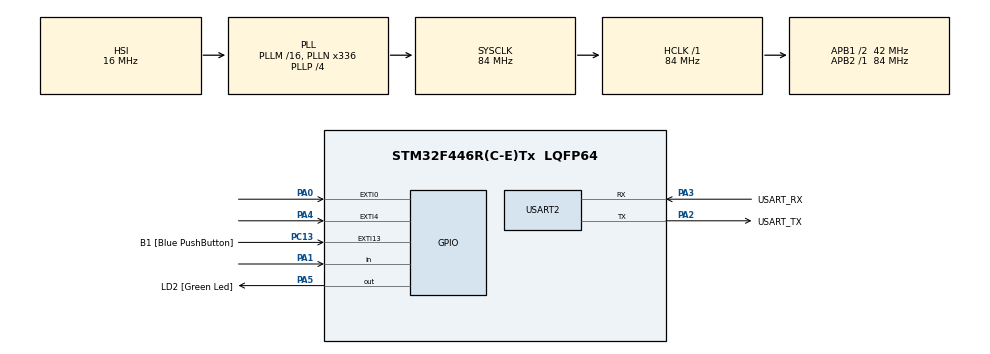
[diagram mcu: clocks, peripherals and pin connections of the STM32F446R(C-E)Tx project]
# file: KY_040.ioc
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Mcu.Family=STM32F4
Mcu.Name=STM32F446R(C-E)Tx
Mcu.Package=LQFP64
NVIC.EXTI0_IRQn=true\:0\:0\:false\:false\:true\:true\:true\:true
NVIC.EXTI4_IRQn=true\:0\:0\:false\:false\:true\:true\:true\:true
NVIC.PriorityGroup=NVIC_PRIORITYGROUP_0
PA0-WKUP.GPIO_ModeDefaultEXTI=GPIO_MODE_IT_RISING
PA0-WKUP.Signal=GPXTI0
PA1.Signal=GPIO_Input
PA13.GPIO_Label=TMS
PA13.Mode=Serial_Wire
PA13.Signal=SYS_JTMS-SWDIO
PA14.GPIO_Label=TCK
PA14.Mode=Serial_Wire
PA14.Signal=SYS_JTCK-SWCLK
PA2.GPIO_Label=USART_TX
PA2.Mode=Asynchronous
PA2.Signal=USART2_TX
PA3.GPIO_Label=USART_RX
PA3.Mode=Asynchronous
PA3.Signal=USART2_RX
PA4.GPIO_ModeDefaultEXTI=GPIO_MODE_IT_FALLING
PA4.GPIO_PuPd=GPIO_PULLUP
PA4.Signal=GPXTI4
PA5.GPIO_Label=LD2 [Green Led]
PA5.Signal=GPIO_Output
PB3.GPIO_Label=SWO
PB3.Signal=SYS_JTDO-SWO
PC13.GPIO_Label=B1 [Blue PushButton]
PC13.GPIO_ModeDefaultEXTI=GPIO_MODE_IT_FALLING
PC13.Signal=GPXTI13
PC14-OSC32_IN.Mode=LSE-External-Oscillator
PC14-OSC32_IN.Signal=RCC_OSC32_IN
PC15-OSC32_OUT.Mode=LSE-External-Oscillator
PC15-OSC32_OUT.Signal=RCC_OSC32_OUT
PH0-OSC_IN.Mode=HSE-External-Oscillator
PH0-OSC_IN.Signal=RCC_OSC_IN
PH1-OSC_OUT.Mode=HSE-External-Oscillator
PH1-OSC_OUT.Signal=RCC_OSC_OUT
ProjectManager.HeapSize=0x200
ProjectManager.StackSize=0x400
ProjectManager.TargetToolchain=STM32CubeIDE
RCC.48MHZClocksFreq_Value=84000000
RCC.AHBFreq_Value=84000000
RCC.APB1CLKDivider=RCC_HCLK_DIV2
RCC.APB1Freq_Value=42000000
RCC.APB1TimFreq_Value=84000000
RCC.APB2Freq_Value=84000000
RCC.APB2TimFreq_Value=84000000
RCC.CortexFreq_Value=84000000
RCC.FLatency-AdvancedSettings=FLASH_LATENCY_2
RCC.HCLKFreq_Value=84000000
RCC.HSE_VALUE=8000000
RCC.HSI_VALUE=16000000
RCC.PLLN=336
RCC.PLLP=RCC_PLLP_DIV4
RCC.SYSCLKFreq_VALUE=84000000
RCC.SYSCLKSource=RCC_SYSCLKSOURCE_PLLCLK
RCC.USBFreq_Value=168000000
RCC.VCOOutputFreq_Value=336000000
USART2.VirtualMode=VM_ASYNC
board=NUCLEO-F446RE

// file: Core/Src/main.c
/* USER CODE BEGIN Header */
/**
  ******************************************************************************
  * @file           : main.c
  * @brief          : Main program body
  ******************************************************************************
  * @attention
  *
  * Copyright (c) 2025 STMicroelectronics.
  * All rights reserved.
  *
  * This software is licensed under terms that can be found in the LICENSE file
  * in the root directory of this software component.
  * If no LICENSE file comes with this software, it is provided AS-IS.
  *
  ******************************************************************************
  */
/* USER CODE END Header */
#include "main.h"

/* USER CODE BEGIN Includes */
#include <stdio.h>

/* USER CODE END Includes */

/* USER CODE BEGIN PD */
#define ENCODER_CLK_Pin    GPIO_PIN_0   // PA0
#define ENCODER_DT_Pin     GPIO_PIN_1   // PA1
#define ENCODER_SW_Pin     GPIO_PIN_4   // PA4
#define ENCODER_GPIO_Port  GPIOA
#define DEBOUNCE_TIME 5  // milliseconds
/* USER CODE END PD */

/* USER CODE BEGIN PM */
volatile int32_t encoderValue = 0;
volatile uint32_t last_tick = 0;
/* USER CODE END PM */

UART_HandleTypeDef huart2;

void SystemClock_Config(void);
static void MX_GPIO_Init(void);
static void MX_USART2_UART_Init(void);

/* USER CODE BEGIN 0 */
void HAL_GPIO_EXTI_Callback(uint16_t GPIO_Pin)
{
    if (GPIO_Pin == ENCODER_CLK_Pin)   // Only trigger on Channel A
    {
        uint32_t now = HAL_GetTick();
        if ((now - last_tick) < DEBOUNCE_TIME) return;  // Debounce
        last_tick = now;

        if (HAL_GPIO_ReadPin(ENCODER_GPIO_Port, ENCODER_DT_Pin) == GPIO_PIN_SET)
        {
            encoderValue++;   // Clockwise
        }
        else
        {
            encoderValue--;   // Counter-clockwise
        }

        printf("Encoder Value: %ld\r\n", encoderValue);
    }
    else if (GPIO_Pin == ENCODER_SW_Pin)   // Button pressed
    {
        encoderValue = 0;
        printf("Encoder Reset!\r\n");
    }
}

int _write(int file, char *ptr, int len)
{
(void)file;
int DataIdx;

for (DataIdx = 0; DataIdx < len; DataIdx++)
{
  ITM_SendChar(*ptr++);
}
return len;
}
/* USER CODE END 0 */

int main(void)
{

  /* MCU Configuration--------------------------------------------------------*/

  /* Reset of all peripherals, Initializes the Flash interface and the Systick. */
  HAL_Init();

  /* Configure the system clock */
  SystemClock_Config();

  /* Initialize all configured peripherals */
  MX_GPIO_Init();
  MX_USART2_UART_Init();
  /* USER CODE BEGIN 2 */
  printf("Rotary Encoder Ready!\r\n");
  /* USER CODE END 2 */

  /* Infinite loop */
  while (1)
  {

  }
}

void SystemClock_Config(void)
{
  RCC_OscInitTypeDef RCC_OscInitStruct = {0};
  RCC_ClkInitTypeDef RCC_ClkInitStruct = {0};

  /** Configure the main internal regulator output voltage
  */
  __HAL_RCC_PWR_CLK_ENABLE();
  __HAL_PWR_VOLTAGESCALING_CONFIG(PWR_REGULATOR_VOLTAGE_SCALE3);

  /** Initializes the RCC Oscillators according to the specified parameters
  * in the RCC_OscInitTypeDef structure.
  */
  RCC_OscInitStruct.OscillatorType = RCC_OSCILLATORTYPE_HSI;
  RCC_OscInitStruct.HSIState = RCC_HSI_ON;
  RCC_OscInitStruct.HSICalibrationValue = RCC_HSICALIBRATION_DEFAULT;
  RCC_OscInitStruct.PLL.PLLState = RCC_PLL_ON;
  RCC_OscInitStruct.PLL.PLLSource = RCC_PLLSOURCE_HSI;
  RCC_OscInitStruct.PLL.PLLM = 16;
  RCC_OscInitStruct.PLL.PLLN = 336;
  RCC_OscInitStruct.PLL.PLLP = RCC_PLLP_DIV4;
  RCC_OscInitStruct.PLL.PLLQ = 2;
  RCC_OscInitStruct.PLL.PLLR = 2;
  if (HAL_RCC_OscConfig(&RCC_OscInitStruct) != HAL_OK)
  {
    Error_Handler();
  }

  /** Initializes the CPU, AHB and APB buses clocks
  */
  RCC_ClkInitStruct.ClockType = RCC_CLOCKTYPE_HCLK|RCC_CLOCKTYPE_SYSCLK
                              |RCC_CLOCKTYPE_PCLK1|RCC_CLOCKTYPE_PCLK2;
  RCC_ClkInitStruct.SYSCLKSource = RCC_SYSCLKSOURCE_PLLCLK;
  RCC_ClkInitStruct.AHBCLKDivider = RCC_SYSCLK_DIV1;
  RCC_ClkInitStruct.APB1CLKDivider = RCC_HCLK_DIV2;
  RCC_ClkInitStruct.APB2CLKDivider = RCC_HCLK_DIV1;

  if (HAL_RCC_ClockConfig(&RCC_ClkInitStruct, FLASH_LATENCY_2) != HAL_OK)
  {
    Error_Handler();
  }
}

static void MX_USART2_UART_Init(void)
{

  huart2.Instance = USART2;
  huart2.Init.BaudRate = 115200;
  huart2.Init.WordLength = UART_WORDLENGTH_8B;
  huart2.Init.StopBits = UART_STOPBITS_1;
  huart2.Init.Parity = UART_PARITY_NONE;
  huart2.Init.Mode = UART_MODE_TX_RX;
  huart2.Init.HwFlowCtl = UART_HWCONTROL_NONE;
  huart2.Init.OverSampling = UART_OVERSAMPLING_16;
  if (HAL_UART_Init(&huart2) != HAL_OK)
  {
    Error_Handler();
  }

}

static void MX_GPIO_Init(void)
{
  GPIO_InitTypeDef GPIO_InitStruct = {0};

  /* GPIO Ports Clock Enable */
  __HAL_RCC_GPIOC_CLK_ENABLE();
  __HAL_RCC_GPIOH_CLK_ENABLE();
  __HAL_RCC_GPIOA_CLK_ENABLE();
  __HAL_RCC_GPIOB_CLK_ENABLE();

  /*Configure GPIO pin Output Level */
  HAL_GPIO_WritePin(LD2_GPIO_Port, LD2_Pin, GPIO_PIN_RESET);

  /*Configure GPIO pin : B1_Pin */
  GPIO_InitStruct.Pin = B1_Pin;
  GPIO_InitStruct.Mode = GPIO_MODE_IT_FALLING;
  GPIO_InitStruct.Pull = GPIO_NOPULL;
  HAL_GPIO_Init(B1_GPIO_Port, &GPIO_InitStruct);

  /*Configure GPIO pin : PA0 */
  GPIO_InitStruct.Pin = GPIO_PIN_0;
  GPIO_InitStruct.Mode = GPIO_MODE_IT_RISING;
  GPIO_InitStruct.Pull = GPIO_NOPULL;
  HAL_GPIO_Init(GPIOA, &GPIO_InitStruct);

  /*Configure GPIO pin : PA1 */
  GPIO_InitStruct.Pin = GPIO_PIN_1;
  GPIO_InitStruct.Mode = GPIO_MODE_INPUT;
  GPIO_InitStruct.Pull = GPIO_NOPULL;
  HAL_GPIO_Init(GPIOA, &GPIO_InitStruct);

  /*Configure GPIO pin : PA4 */
  GPIO_InitStruct.Pin = GPIO_PIN_4;
  GPIO_InitStruct.Mode = GPIO_MODE_IT_FALLING;
  GPIO_InitStruct.Pull = GPIO_PULLUP;
  HAL_GPIO_Init(GPIOA, &GPIO_InitStruct);

  /*Configure GPIO pin : LD2_Pin */
  GPIO_InitStruct.Pin = LD2_Pin;
  GPIO_InitStruct.Mode = GPIO_MODE_OUTPUT_PP;
  GPIO_InitStruct.Pull = GPIO_NOPULL;
  GPIO_InitStruct.Speed = GPIO_SPEED_FREQ_LOW;
  HAL_GPIO_Init(LD2_GPIO_Port, &GPIO_InitStruct);

  /* EXTI interrupt init*/
  HAL_NVIC_SetPriority(EXTI0_IRQn, 0, 0);
  HAL_NVIC_EnableIRQ(EXTI0_IRQn);

  HAL_NVIC_SetPriority(EXTI4_IRQn, 0, 0);
  HAL_NVIC_EnableIRQ(EXTI4_IRQn);

}

void Error_Handler(void)
{
  __disable_irq();
  while (1)
  {
  }
}
